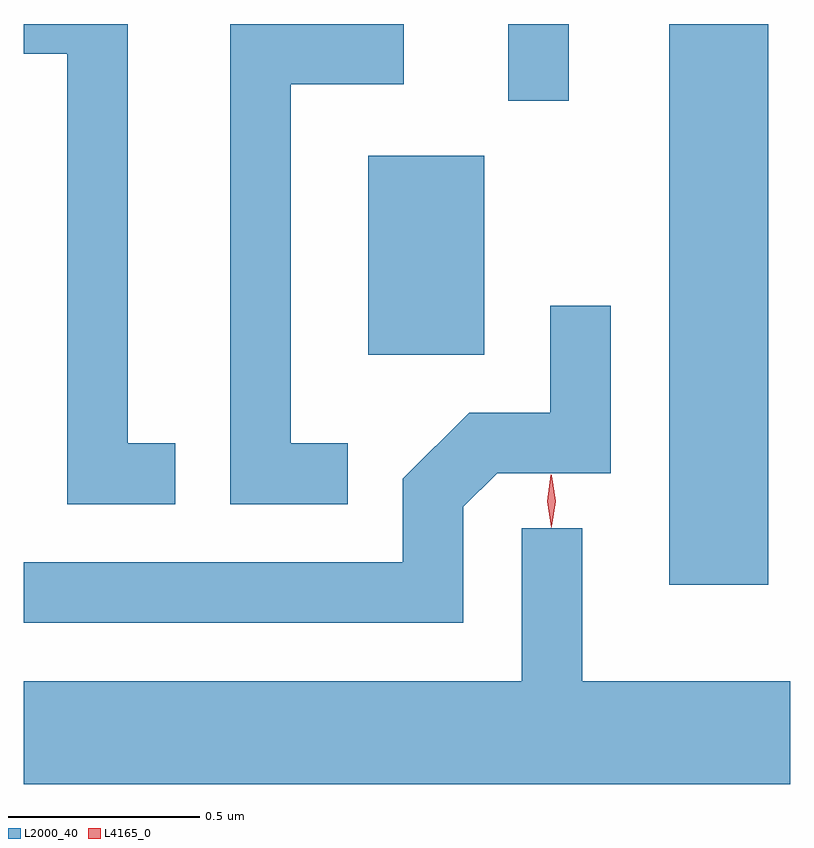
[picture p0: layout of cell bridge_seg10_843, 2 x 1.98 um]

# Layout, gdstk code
import gdstk
lib = gdstk.Library(unit=1e-6, precision=1e-09)
def R(c, l, rs):  # rectangles x0, y0, x1, y1
    for r in rs: c.add(gdstk.rectangle(r[:2], r[2:], *l))
def P(c, l, *ps):  # polygons
    for p in ps: c.add(gdstk.Polygon(p, *l))
L2000_40 = (2000, 40)
L4165_0 = (4165, 0)

bridge_seg10_843 = lib.new_cell('bridge_seg10_843')
R(bridge_seg10_843, L2000_40, [(332.216,2116.656,332.474,2118.118), (331.431,2117.256,331.734,2117.774), (331.796,2117.918,331.954,2118.118)])
P(bridge_seg10_843, L2000_40, [(331.378,2117.024),(331.229,2117.024),(331.229,2117.961),(331.523,2117.961),(331.523,2118.118),(331.071,2118.118),(331.071,2116.866),(331.378,2116.866)],
  [(330.928,2117.024),(330.804,2117.024),(330.804,2118.118),(330.532,2118.118),(330.532,2118.041),(330.646,2118.041),(330.646,2116.866),(330.928,2116.866)],
  [(331.679,2116.859),(331.767,2116.946),(332.064,2116.946),(332.064,2117.383),(331.906,2117.383),(331.906,2117.104),(331.694,2117.104),(331.521,2116.932),(331.521,2116.714),(330.532,2116.714),(330.532,2116.556),(331.679,2116.556)],
  [(332.532,2116.404),(331.989,2116.404),(331.989,2116.803),(331.831,2116.803),(331.831,2116.404),(330.532,2116.404),(330.532,2116.136),(332.532,2116.136)])
P(bridge_seg10_843, L4165_0, [(331.908,2116.804),(331.908,2116.805),(331.898,2116.874),(331.907,2116.943),(331.908,2116.943),(331.908,2116.943),(331.918,2116.874),(331.908,2116.805)],
  [(331.91,2116.807),(331.909,2116.808),(331.9,2116.874),(331.909,2116.94),(331.909,2116.941),(331.91,2116.94),(331.92,2116.874),(331.91,2116.808)])

lib.write_gds('bridge_seg10_843.gds')
